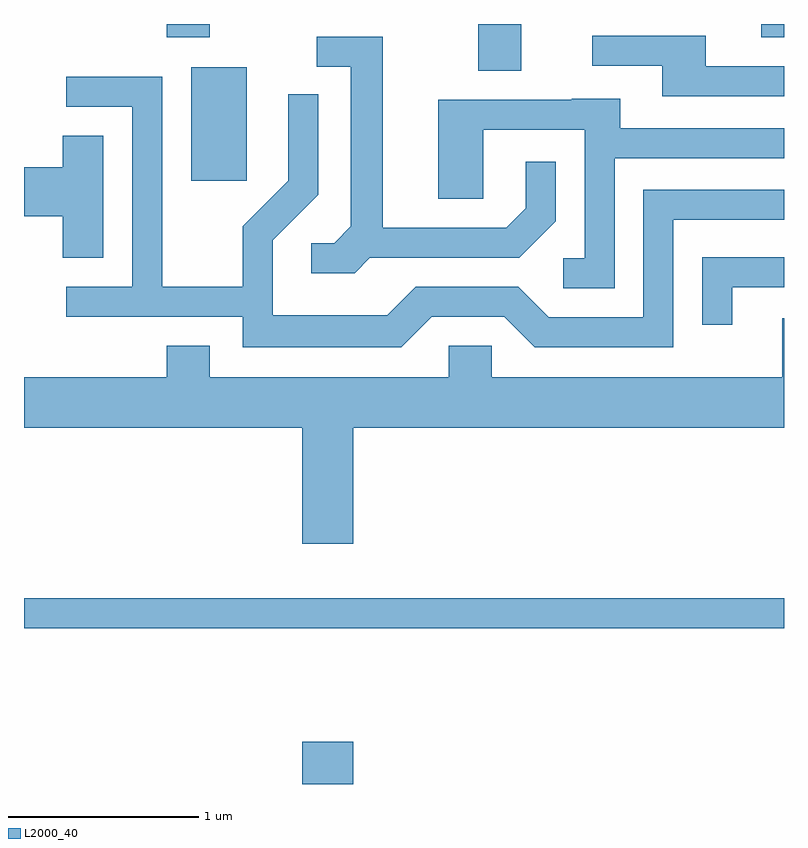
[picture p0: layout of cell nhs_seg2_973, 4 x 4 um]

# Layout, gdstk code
import gdstk
lib = gdstk.Library(unit=1e-6, precision=1e-09)
def R(c, l, rs):  # rectangles x0, y0, x1, y1
    for r in rs: c.add(gdstk.rectangle(r[:2], r[2:], *l))
def P(c, l, *ps):  # polygons
    for p in ps: c.add(gdstk.Polygon(p, *l))
L2000_40 = (2000, 40)

nhs_seg2_973 = lib.new_cell('nhs_seg2_973')
R(nhs_seg2_973, L2000_40, [(215.076,1019.802,215.344,1020.024), (213.611,1020.621,217.611,1020.779), (214.491,1022.976,214.784,1023.574), (216.001,1023.556,216.229,1023.802), (214.361,1023.731,214.589,1023.802), (217.491,1023.731,217.611,1023.802)])
P(nhs_seg2_973, L2000_40, [(217.611,1023.579),(217.199,1023.579),(217.199,1023.739),(216.603,1023.739),(216.603,1023.581),(216.971,1023.581),(216.971,1023.421),(217.611,1023.421)],
  [(215.432,1022.571),(216.217,1022.571),(216.409,1022.764),(216.409,1023.078),(216.251,1023.078),(216.251,1022.832),(216.149,1022.729),(215.499,1022.729),(215.499,1023.734),(215.153,1023.734),(215.153,1023.576),(215.331,1023.576),(215.331,1022.737),(215.244,1022.649),(215.123,1022.649),(215.123,1022.491),(215.352,1022.491)],
  [(215.757,1022.261),(216.139,1022.261),(216.299,1022.101),(217.029,1022.101),(217.029,1022.771),(217.611,1022.771),(217.611,1022.929),(216.871,1022.929),(216.871,1022.259),(216.372,1022.259),(216.212,1022.419),(215.674,1022.419),(215.524,1022.269),(214.919,1022.269),(214.919,1022.664),(215.159,1022.904),(215.159,1023.433),(215.001,1023.433),(215.001,1022.977),(214.761,1022.737),(214.761,1022.419),(214.339,1022.419),(214.339,1023.524),(213.833,1023.524),(213.833,1023.366),(214.181,1023.366),(214.181,1022.419),(213.833,1022.419),(213.833,1022.261),(214.761,1022.261),(214.761,1022.101),(215.597,1022.101)],
  [(216.719,1023.096),(217.611,1023.096),(217.611,1023.254),(216.749,1023.254),(216.749,1023.409),(216.495,1023.409),(216.495,1023.404),(215.791,1023.404),(215.791,1022.881),(216.029,1022.881),(216.029,1023.246),(216.561,1023.246),(216.561,1022.569),(216.448,1022.569),(216.448,1022.411),(216.719,1022.411)],
  [(214.029,1023.214),(213.816,1023.214),(213.816,1023.049),(213.611,1023.049),(213.611,1022.791),(213.816,1022.791),(213.816,1022.571),(214.029,1022.571)],
  [(217.339,1022.416),(217.611,1022.416),(217.611,1022.574),(217.181,1022.574),(217.181,1022.218),(217.339,1022.218)],
  [(215.344,1021.676),(217.611,1021.676),(217.611,1022.254),(217.601,1022.254),(217.601,1021.944),(216.074,1021.944),(216.074,1022.109),(215.846,1022.109),(215.846,1021.944),(214.589,1021.944),(214.589,1022.109),(214.361,1022.109),(214.361,1021.944),(213.611,1021.944),(213.611,1021.676),(215.076,1021.676),(215.076,1021.066),(215.344,1021.066)])

lib.write_gds('nhs_seg2_973.gds')
